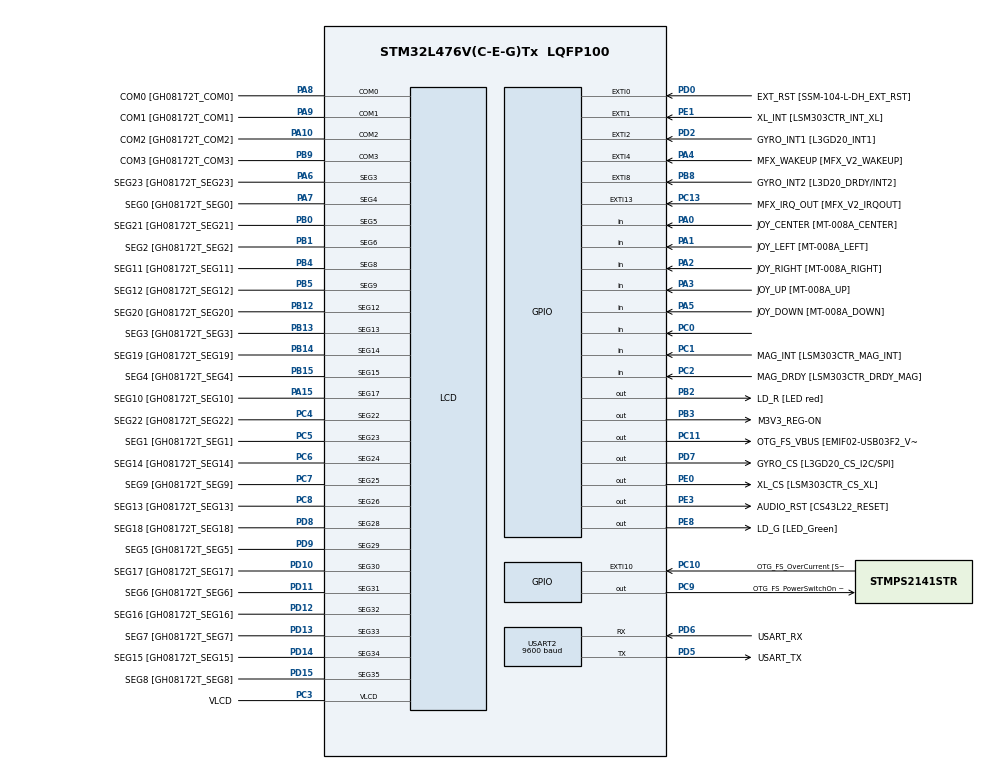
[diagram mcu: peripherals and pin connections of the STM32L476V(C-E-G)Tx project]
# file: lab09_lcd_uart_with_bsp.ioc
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LCD.Bias=LCD_BIAS_1_3
LCD.BlinkFrequency=LCD_BLINKFREQUENCY_DIV32
LCD.Contrast=LCD_CONTRASTLEVEL_3
LCD.Divider=LCD_DIVIDER_31
LCD.PulseOnDuration=LCD_PULSEONDURATION_4
Mcu.Family=STM32L4
Mcu.Name=STM32L476V(C-E-G)Tx
Mcu.Package=LQFP100
NVIC.PriorityGroup=NVIC_PRIORITYGROUP_4
PA0.GPIO_Label=JOY_CENTER [MT-008A_CENTER]
PA0.GPIO_Mode=GPIO_MODE_INPUT
PA0.GPIO_PuPd=GPIO_PULLDOWN
PA0.Signal=GPIO_Input
PA1.GPIO_Label=JOY_LEFT [MT-008A_LEFT]
PA1.GPIO_Mode=GPIO_MODE_INPUT
PA1.GPIO_PuPd=GPIO_PULLDOWN
PA1.Signal=GPIO_Input
PA10.GPIO_Label=COM2 [GH08172T_COM2]
PA10.GPIO_Mode=GPIO_MODE_AF_PP
PA10.GPIO_PuPd=GPIO_NOPULL
PA10.GPIO_Speed=GPIO_SPEED_FREQ_LOW
PA10.Mode=1/4 Duty Cycle
PA10.Signal=LCD_COM2
PA11.GPIO_Label=OTG_FS_DM [EMIF02-USB03F2_D-out]
PA11.GPIO_Mode=GPIO_MODE_AF_PP
PA11.GPIO_PuPd=GPIO_NOPULL
PA11.GPIO_Speed=GPIO_SPEED_FREQ_VERY_HIGH
PA11.Signal=USB_OTG_FS_DM
PA12.GPIO_Label=OTG_FS_DP [EMIF02-USB03F2_D+out]
PA12.GPIO_Mode=GPIO_MODE_AF_PP
PA12.GPIO_PuPd=GPIO_NOPULL
PA12.GPIO_Speed=GPIO_SPEED_FREQ_VERY_HIGH
PA12.Signal=USB_OTG_FS_DP
PA13\ (JTMS-SWDIO).GPIO_Label=SWDIO
PA13\ (JTMS-SWDIO).Signal=SYS_JTMS-SWDIO
PA14\ (JTCK-SWCLK).GPIO_Label=SWCLK
PA14\ (JTCK-SWCLK).Signal=SYS_JTCK-SWCLK
PA15\ (JTDI).GPIO_Label=SEG10 [GH08172T_SEG10]
PA15\ (JTDI).GPIO_Mode=GPIO_MODE_AF_PP
PA15\ (JTDI).GPIO_PuPd=GPIO_NOPULL
PA15\ (JTDI).GPIO_Speed=GPIO_SPEED_FREQ_LOW
PA15\ (JTDI).Mode=SEG17
PA15\ (JTDI).Signal=LCD_SEG17
PA2.GPIO_Label=JOY_RIGHT [MT-008A_RIGHT]
PA2.GPIO_Mode=GPIO_MODE_INPUT
PA2.GPIO_PuPd=GPIO_PULLDOWN
PA2.Signal=GPIO_Input
PA3.GPIO_Label=JOY_UP [MT-008A_UP]
PA3.GPIO_Mode=GPIO_MODE_INPUT
PA3.GPIO_PuPd=GPIO_PULLDOWN
PA3.Signal=GPIO_Input
PA4.GPIO_Label=MFX_WAKEUP [MFX_V2_WAKEUP]
PA4.GPIO_ModeDefaultEXTI=GPIO_MODE_EVT_RISING
PA4.GPIO_PuPd=GPIO_NOPULL
PA4.Signal=GPXTI4
PA5.GPIO_Label=JOY_DOWN [MT-008A_DOWN]
PA5.GPIO_Mode=GPIO_MODE_INPUT
PA5.GPIO_PuPd=GPIO_PULLDOWN
PA5.Signal=GPIO_Input
PA6.GPIO_Label=SEG23 [GH08172T_SEG23]
PA6.GPIO_Mode=GPIO_MODE_AF_PP
PA6.GPIO_PuPd=GPIO_NOPULL
PA6.GPIO_Speed=GPIO_SPEED_FREQ_LOW
PA6.Mode=SEG3
PA6.Signal=LCD_SEG3
PA7.GPIO_Label=SEG0 [GH08172T_SEG0]
PA7.GPIO_Mode=GPIO_MODE_AF_PP
PA7.GPIO_PuPd=GPIO_NOPULL
PA7.GPIO_Speed=GPIO_SPEED_FREQ_LOW
PA7.Mode=SEG4
PA7.Signal=LCD_SEG4
PA8.GPIO_Label=COM0 [GH08172T_COM0]
PA8.GPIO_Mode=GPIO_MODE_AF_PP
PA8.GPIO_PuPd=GPIO_NOPULL
PA8.GPIO_Speed=GPIO_SPEED_FREQ_LOW
PA8.Mode=1/4 Duty Cycle
PA8.Signal=LCD_COM0
PA9.GPIO_Label=COM1 [GH08172T_COM1]
PA9.GPIO_Mode=GPIO_MODE_AF_PP
PA9.GPIO_PuPd=GPIO_NOPULL
PA9.GPIO_Speed=GPIO_SPEED_FREQ_LOW
PA9.Mode=1/4 Duty Cycle
PA9.Signal=LCD_COM1
PB0.GPIO_Label=SEG21 [GH08172T_SEG21]
PB0.GPIO_Mode=GPIO_MODE_AF_PP
PB0.GPIO_PuPd=GPIO_NOPULL
PB0.GPIO_Speed=GPIO_SPEED_FREQ_LOW
PB0.Mode=SEG5
PB0.Signal=LCD_SEG5
PB1.GPIO_Label=SEG2 [GH08172T_SEG2]
PB1.GPIO_Mode=GPIO_MODE_AF_PP
PB1.GPIO_PuPd=GPIO_NOPULL
PB1.GPIO_Speed=GPIO_SPEED_FREQ_LOW
PB1.Mode=SEG6
PB1.Signal=LCD_SEG6
PB10.GPIO_Label=MFX_I2C_SLC [MFX_V2_I2C_SCL]
PB10.GPIO_Mode=GPIO_MODE_AF_OD
PB10.GPIO_PuPdOD=GPIO_PULLUP
PB10.GPIO_Speed=GPIO_SPEED_FREQ_VERY_HIGH
PB10.Signal=I2C2_SCL
PB11.GPIO_Label=MFX_I2C_SDA [MFX_V2_I2C_SDA]
PB11.GPIO_Mode=GPIO_MODE_AF_OD
PB11.GPIO_PuPdOD=GPIO_PULLUP
PB11.GPIO_Speed=GPIO_SPEED_FREQ_VERY_HIGH
PB11.Signal=I2C2_SDA
PB12.GPIO_Label=SEG20 [GH08172T_SEG20]
PB12.GPIO_Mode=GPIO_MODE_AF_PP
PB12.GPIO_PuPd=GPIO_NOPULL
PB12.GPIO_Speed=GPIO_SPEED_FREQ_LOW
PB12.Mode=SEG12
PB12.Signal=LCD_SEG12
PB13.GPIO_Label=SEG3 [GH08172T_SEG3]
PB13.GPIO_Mode=GPIO_MODE_AF_PP
PB13.GPIO_PuPd=GPIO_NOPULL
PB13.GPIO_Speed=GPIO_SPEED_FREQ_LOW
PB13.Mode=SEG13
PB13.Signal=LCD_SEG13
PB14.GPIO_Label=SEG19 [GH08172T_SEG19]
PB14.GPIO_Mode=GPIO_MODE_AF_PP
PB14.GPIO_PuPd=GPIO_NOPULL
PB14.GPIO_Speed=GPIO_SPEED_FREQ_LOW
PB14.Mode=SEG14
PB14.Signal=LCD_SEG14
PB15.GPIO_Label=SEG4 [GH08172T_SEG4]
PB15.GPIO_Mode=GPIO_MODE_AF_PP
PB15.GPIO_PuPd=GPIO_NOPULL
PB15.GPIO_Speed=GPIO_SPEED_FREQ_LOW
PB15.Mode=SEG15
PB15.Signal=LCD_SEG15
PB2.GPIO_Label=LD_R [LED red]
PB2.GPIO_ModeDefaultOutputPP=GPIO_MODE_OUTPUT_PP
PB2.GPIO_PuPd=GPIO_PULLUP
PB2.GPIO_Speed=GPIO_SPEED_FREQ_VERY_HIGH
PB2.Signal=GPIO_Output
PB3\ (JTDO-TRACESWO).GPIO_Label=M3V3_REG-ON
PB3\ (JTDO-TRACESWO).GPIO_ModeDefaultOutputPP=GPIO_MODE_OUTPUT_PP
PB3\ (JTDO-TRACESWO).GPIO_PuPd=GPIO_NOPULL
PB3\ (JTDO-TRACESWO).GPIO_Speed=GPIO_SPEED_FREQ_LOW
PB3\ (JTDO-TRACESWO).Signal=GPIO_Output
PB4\ (NJTRST).GPIO_Label=SEG11 [GH08172T_SEG11]
PB4\ (NJTRST).GPIO_Mode=GPIO_MODE_AF_PP
PB4\ (NJTRST).GPIO_PuPd=GPIO_NOPULL
PB4\ (NJTRST).GPIO_Speed=GPIO_SPEED_FREQ_LOW
PB4\ (NJTRST).Mode=SEG8
PB4\ (NJTRST).Signal=LCD_SEG8
PB5.GPIO_Label=SEG12 [GH08172T_SEG12]
PB5.GPIO_Mode=GPIO_MODE_AF_PP
PB5.GPIO_PuPd=GPIO_NOPULL
PB5.GPIO_Speed=GPIO_SPEED_FREQ_LOW
PB5.Mode=SEG9
PB5.Signal=LCD_SEG9
PB6.GPIO_FM6=__NULL
PB6.GPIO_Label=I2C1_SCL [SSM-104-L-DH_SCL]
PB6.GPIO_Mode=GPIO_MODE_AF_OD
PB6.GPIO_PuPdOD=GPIO_PULLUP
PB6.GPIO_Speed=GPIO_SPEED_FREQ_VERY_HIGH
PB6.Signal=I2C1_SCL
PB7.GPIO_FM7=__NULL
PB7.GPIO_Label=I2C1_SDA [SSM-104-L-DH_SDA]
PB7.GPIO_Mode=GPIO_MODE_AF_OD
PB7.GPIO_PuPdOD=GPIO_PULLUP
PB7.GPIO_Speed=GPIO_SPEED_FREQ_VERY_HIGH
PB7.Signal=I2C1_SDA
PB8.GPIO_Label=GYRO_INT2 [L3D20_DRDY/INT2]
PB8.GPIO_ModeDefaultEXTI=GPIO_MODE_EVT_RISING
PB8.GPIO_PuPd=GPIO_NOPULL
PB8.Signal=GPXTI8
PB9.GPIO_FM9=__NULL
PB9.GPIO_Label=COM3 [GH08172T_COM3]
PB9.GPIO_Mode=GPIO_MODE_AF_PP
PB9.GPIO_PuPd=GPIO_NOPULL
PB9.GPIO_Speed=GPIO_SPEED_FREQ_LOW
PB9.Mode=1/4 Duty Cycle
PB9.Signal=LCD_COM3
PC0.Signal=GPIO_Input
PC1.GPIO_Label=MAG_INT [LSM303CTR_MAG_INT]
PC1.GPIO_Mode=GPIO_MODE_INPUT
PC1.GPIO_PuPd=GPIO_NOPULL
PC1.Signal=GPIO_Input
PC10.GPIO_Label=OTG_FS_OverCurrent [STMPS2141STR_FAULT]
PC10.GPIO_ModeDefaultEXTI=GPIO_MODE_EVT_RISING
PC10.GPIO_PuPd=GPIO_NOPULL
PC10.Signal=GPXTI10
PC11.GPIO_Label=OTG_FS_VBUS [EMIF02-USB03F2_Vbus]
PC11.GPIO_ModeDefaultOutputPP=GPIO_MODE_OUTPUT_PP
PC11.GPIO_PuPd=GPIO_NOPULL
PC11.GPIO_Speed=GPIO_SPEED_FREQ_LOW
PC11.Signal=GPIO_Output
PC13.GPIO_Label=MFX_IRQ_OUT [MFX_V2_IRQOUT]
PC13.GPIO_ModeDefaultEXTI=GPIO_MODE_EVT_RISING
PC13.GPIO_PuPd=GPIO_NOPULL
PC13.Signal=GPXTI13
PC14-OSC32_IN\ (PC14).Signal=RCC_OSC32_IN
PC15-OSC32_OUT\ (PC15).Signal=RCC_OSC32_OUT
PC2.GPIO_Label=MAG_DRDY [LSM303CTR_DRDY_MAG]
PC2.GPIO_Mode=GPIO_MODE_INPUT
PC2.GPIO_PuPd=GPIO_NOPULL
PC2.Signal=GPIO_Input
PC3.GPIO_Label=VLCD
PC3.GPIO_Mode=GPIO_MODE_AF_PP
PC3.GPIO_PuPd=GPIO_NOPULL
PC3.GPIO_Speed=GPIO_SPEED_FREQ_LOW
PC3.Mode=1/4 Duty Cycle
PC3.Signal=LCD_VLCD
PC4.GPIO_Label=SEG22 [GH08172T_SEG22]
PC4.GPIO_Mode=GPIO_MODE_AF_PP
PC4.GPIO_PuPd=GPIO_NOPULL
PC4.GPIO_Speed=GPIO_SPEED_FREQ_LOW
PC4.Mode=SEG22
PC4.Signal=LCD_SEG22
PC5.GPIO_Label=SEG1 [GH08172T_SEG1]
PC5.GPIO_Mode=GPIO_MODE_AF_PP
PC5.GPIO_PuPd=GPIO_NOPULL
PC5.GPIO_Speed=GPIO_SPEED_FREQ_LOW
PC5.Mode=SEG23
PC5.Signal=LCD_SEG23
PC6.GPIO_Label=SEG14 [GH08172T_SEG14]
PC6.GPIO_Mode=GPIO_MODE_AF_PP
PC6.GPIO_PuPd=GPIO_NOPULL
PC6.GPIO_Speed=GPIO_SPEED_FREQ_LOW
PC6.Mode=SEG24
PC6.Signal=LCD_SEG24
PC7.GPIO_Label=SEG9 [GH08172T_SEG9]
PC7.GPIO_Mode=GPIO_MODE_AF_PP
PC7.GPIO_PuPd=GPIO_NOPULL
PC7.GPIO_Speed=GPIO_SPEED_FREQ_LOW
PC7.Mode=SEG25
PC7.Signal=LCD_SEG25
PC8.GPIO_Label=SEG13 [GH08172T_SEG13]
PC8.GPIO_Mode=GPIO_MODE_AF_PP
PC8.GPIO_PuPd=GPIO_NOPULL
PC8.GPIO_Speed=GPIO_SPEED_FREQ_LOW
PC8.Mode=SEG26
PC8.Signal=LCD_SEG26
PC9.GPIO_Label=OTG_FS_PowerSwitchOn [STMPS2141STR_EN]
PC9.GPIO_ModeDefaultOutputPP=GPIO_MODE_OUTPUT_PP
PC9.GPIO_PuPd=GPIO_NOPULL
PC9.GPIO_Speed=GPIO_SPEED_FREQ_LOW
PC9.PinState=GPIO_PIN_SET
PC9.Signal=GPIO_Output
PD0.GPIO_Label=EXT_RST [SSM-104-L-DH_EXT_RST]
PD0.GPIO_ModeDefaultEXTI=GPIO_MODE_EVT_RISING
PD0.GPIO_PuPd=GPIO_NOPULL
PD0.Signal=GPXTI0
PD1.GPIO_Label=MEMS_SCK [L3GD20_SCL/SPC]
PD1.GPIO_Mode=GPIO_MODE_AF_PP
PD1.GPIO_PuPd=GPIO_NOPULL
PD1.GPIO_Speed=GPIO_SPEED_FREQ_VERY_HIGH
PD1.Signal=SPI2_SCK
PD10.GPIO_Label=SEG17 [GH08172T_SEG17]
PD10.GPIO_Mode=GPIO_MODE_AF_PP
PD10.GPIO_PuPd=GPIO_NOPULL
PD10.GPIO_Speed=GPIO_SPEED_FREQ_LOW
PD10.Mode=SEG30
PD10.Signal=LCD_SEG30
PD11.GPIO_Label=SEG6 [GH08172T_SEG6]
PD11.GPIO_Mode=GPIO_MODE_AF_PP
PD11.GPIO_PuPd=GPIO_NOPULL
PD11.GPIO_Speed=GPIO_SPEED_FREQ_LOW
PD11.Mode=SEG31
PD11.Signal=LCD_SEG31
PD12.GPIO_Label=SEG16 [GH08172T_SEG16]
PD12.GPIO_Mode=GPIO_MODE_AF_PP
PD12.GPIO_PuPd=GPIO_NOPULL
PD12.GPIO_Speed=GPIO_SPEED_FREQ_LOW
PD12.Mode=SEG32
PD12.Signal=LCD_SEG32
PD13.GPIO_Label=SEG7 [GH08172T_SEG7]
PD13.GPIO_Mode=GPIO_MODE_AF_PP
PD13.GPIO_PuPd=GPIO_NOPULL
PD13.GPIO_Speed=GPIO_SPEED_FREQ_LOW
PD13.Mode=SEG33
PD13.Signal=LCD_SEG33
PD14.GPIO_Label=SEG15 [GH08172T_SEG15]
PD14.GPIO_Mode=GPIO_MODE_AF_PP
PD14.GPIO_PuPd=GPIO_NOPULL
PD14.GPIO_Speed=GPIO_SPEED_FREQ_LOW
PD14.Mode=SEG34
PD14.Signal=LCD_SEG34
PD15.GPIO_Label=SEG8 [GH08172T_SEG8]
PD15.GPIO_Mode=GPIO_MODE_AF_PP
PD15.GPIO_PuPd=GPIO_NOPULL
PD15.GPIO_Speed=GPIO_SPEED_FREQ_LOW
PD15.Mode=SEG35
PD15.Signal=LCD_SEG35
PD2.GPIO_Label=GYRO_INT1 [L3GD20_INT1]
PD2.GPIO_ModeDefaultEXTI=GPIO_MODE_EVT_RISING
PD2.GPIO_PuPd=GPIO_NOPULL
PD2.Signal=GPXTI2
PD3.GPIO_Label=MEMS_MISO [L3GD20_SA0/SDO]
PD3.GPIO_Mode=GPIO_MODE_AF_PP
PD3.GPIO_PuPd=GPIO_NOPULL
PD3.GPIO_Speed=GPIO_SPEED_FREQ_VERY_HIGH
PD3.Signal=SPI2_MISO
PD4.GPIO_Label=MEMS_MOSI [L3GD20_SDA/SDI/SDO]
PD4.GPIO_Mode=GPIO_MODE_AF_PP
PD4.GPIO_PuPd=GPIO_NOPULL
PD4.GPIO_Speed=GPIO_SPEED_FREQ_VERY_HIGH
PD4.Signal=SPI2_MOSI
PD5.GPIO_Label=USART_TX
PD5.GPIO_Mode=GPIO_MODE_AF_PP
PD5.GPIO_PuPd=GPIO_PULLUP
PD5.GPIO_Speed=GPIO_SPEED_FREQ_VERY_HIGH
PD5.Mode=Asynchronous
PD5.Signal=USART2_TX
PD6.GPIO_Label=USART_RX
PD6.GPIO_Mode=GPIO_MODE_AF_PP
PD6.GPIO_PuPd=GPIO_PULLUP
PD6.GPIO_Speed=GPIO_SPEED_FREQ_VERY_HIGH
PD6.Mode=Asynchronous
PD6.Signal=USART2_RX
PD7.GPIO_Label=GYRO_CS [L3GD20_CS_I2C/SPI]
PD7.GPIO_ModeDefaultOutputPP=GPIO_MODE_OUTPUT_PP
PD7.GPIO_PuPd=GPIO_NOPULL
PD7.GPIO_Speed=GPIO_SPEED_FREQ_VERY_HIGH
PD7.Signal=GPIO_Output
PD8.GPIO_Label=SEG18 [GH08172T_SEG18]
PD8.GPIO_Mode=GPIO_MODE_AF_PP
PD8.GPIO_PuPd=GPIO_NOPULL
PD8.GPIO_Speed=GPIO_SPEED_FREQ_LOW
PD8.Mode=SEG28
PD8.Signal=LCD_SEG28
PD9.GPIO_Label=SEG5 [GH08172T_SEG5]
PD9.GPIO_Mode=GPIO_MODE_AF_PP
PD9.GPIO_PuPd=GPIO_NOPULL
PD9.GPIO_Speed=GPIO_SPEED_FREQ_LOW
PD9.Mode=SEG29
PD9.Signal=LCD_SEG29
PE0.GPIO_Label=XL_CS [LSM303CTR_CS_XL]
PE0.GPIO_ModeDefaultOutputPP=GPIO_MODE_OUTPUT_PP
PE0.GPIO_PuPd=GPIO_NOPULL
PE0.GPIO_Speed=GPIO_SPEED_FREQ_LOW
PE0.Signal=GPIO_Output
PE1.GPIO_Label=XL_INT [LSM303CTR_INT_XL]
PE1.GPIO_ModeDefaultEXTI=GPIO_MODE_EVT_RISING
PE1.GPIO_PuPd=GPIO_NOPULL
PE1.Signal=GPXTI1
PE10.GPIO_Label=QSPI_CLK [N25Q128A13EF840E_C]
PE10.GPIO_Mode=GPIO_MODE_AF_PP
PE10.GPIO_PuPd=GPIO_NOPULL
PE10.GPIO_Speed=GPIO_SPEED_FREQ_VERY_HIGH
PE10.Signal=QUADSPI_CLK
PE11.GPIO_Label=QSPI_CS [N25Q128A13EF840E_S\#]
PE11.GPIO_Mode=GPIO_MODE_AF_PP
PE11.GPIO_PuPd=GPIO_NOPULL
PE11.GPIO_Speed=GPIO_SPEED_FREQ_VERY_HIGH
PE11.Signal=QUADSPI_NCS
PE12.GPIO_Label=QSPI_D0 [N25Q128A13EF840E_DQ0]
PE12.GPIO_Mode=GPIO_MODE_AF_PP
PE12.GPIO_PuPd=GPIO_NOPULL
PE12.GPIO_Speed=GPIO_SPEED_FREQ_VERY_HIGH
PE12.Signal=QUADSPI_BK1_IO0
PE13.GPIO_Label=QSPI_D1 [N25Q128A13EF840E_DQ1]
PE13.GPIO_Mode=GPIO_MODE_AF_PP
PE13.GPIO_PuPd=GPIO_NOPULL
PE13.GPIO_Speed=GPIO_SPEED_FREQ_VERY_HIGH
PE13.Signal=QUADSPI_BK1_IO1
PE14.GPIO_Label=QSPI_D2 [N25Q128A13EF840E_DQ2]
PE14.GPIO_Mode=GPIO_MODE_AF_PP
PE14.GPIO_PuPd=GPIO_NOPULL
PE14.GPIO_Speed=GPIO_SPEED_FREQ_VERY_HIGH
PE14.Signal=QUADSPI_BK1_IO2
PE15.GPIO_Label=QSPI_D3 [N25Q128A13EF840E_DQ3]
PE15.GPIO_Mode=GPIO_MODE_AF_PP
PE15.GPIO_PuPd=GPIO_NOPULL
PE15.GPIO_Speed=GPIO_SPEED_FREQ_VERY_HIGH
PE15.Signal=QUADSPI_BK1_IO3
PE2.GPIO_Label=SAI1_MCK [CS43L22_MCLK]
PE2.GPIO_Mode=GPIO_MODE_AF_PP
PE2.GPIO_PuPd=GPIO_NOPULL
PE2.GPIO_Speed=GPIO_SPEED_FREQ_VERY_HIGH
PE2.Signal=SAI1_MCLK_A
PE3.GPIO_Label=AUDIO_RST [CS43L22_RESET]
PE3.GPIO_ModeDefaultOutputPP=GPIO_MODE_OUTPUT_PP
PE3.GPIO_PuPd=GPIO_NOPULL
PE3.GPIO_Speed=GPIO_SPEED_FREQ_HIGH
PE3.Signal=GPIO_Output
PE4.GPIO_Label=SAI1_FS [CS43L22_LRCK]
PE4.GPIO_Mode=GPIO_MODE_AF_PP
PE4.GPIO_PuPd=GPIO_NOPULL
PE4.GPIO_Speed=GPIO_SPEED_FREQ_VERY_HIGH
PE4.Signal=SAI1_FS_A
PE5.GPIO_Label=SAI1_SCK [CS43L22_SCLK]
PE5.GPIO_Mode=GPIO_MODE_AF_PP
PE5.GPIO_PuPd=GPIO_NOPULL
PE5.GPIO_Speed=GPIO_SPEED_FREQ_VERY_HIGH
PE5.Signal=SAI1_SCK_A
PE6.GPIO_Label=SAI1_SD [CS43L22_SDIN]
PE6.GPIO_Mode=GPIO_MODE_AF_PP
PE6.GPIO_PuPd=GPIO_NOPULL
PE6.GPIO_Speed=GPIO_SPEED_FREQ_VERY_HIGH
PE6.Signal=SAI1_SD_A
PE7.GPIO_Label=AUDIO_DIN [MP34DT01_DOUT]
PE7.GPIO_Mode=GPIO_MODE_AF_PP
PE7.GPIO_PuPd=GPIO_NOPULL
PE7.GPIO_Speed=GPIO_SPEED_FREQ_VERY_HIGH
PE7.Signal=SAI1_SD_B
PE8.GPIO_Label=LD_G [LED_Green]
PE8.GPIO_ModeDefaultOutputPP=GPIO_MODE_OUTPUT_PP
PE8.GPIO_PuPd=GPIO_PULLUP
PE8.GPIO_Speed=GPIO_SPEED_FREQ_VERY_HIGH
PE8.Signal=GPIO_Output
PE9.GPIO_Label=AUDIO_CLK [MP34DT01_CLK]
PE9.GPIO_Mode=GPIO_MODE_AF_PP
PE9.GPIO_PuPd=GPIO_NOPULL
PE9.GPIO_Speed=GPIO_SPEED_FREQ_LOW
PE9.Signal=SAI1_FS_B
PH0-OSC_IN\ (PH0).Signal=RCC_OSC_IN
PH1-OSC_OUT\ (PH1).Signal=RCC_OSC_OUT
ProjectManager.HeapSize=0x200
ProjectManager.StackSize=0x400
ProjectManager.TargetToolchain=MDK-ARM V5
RCC.CortexFreq_Value=4000000
RCC.HSE_VALUE=8000000
RCC.HSI_VALUE=16000000
RCC.LSE_VALUE=32768
RCC.MSI_VALUE=4000000
RCC.PREFETCH_ENABLE=1
RCC.VCOOutputFreq_Value=32000000
USART2.BaudRate=9600
USART2.VirtualMode-Asynchronous=VM_ASYNC
USART2.WordLength=WORDLENGTH_8B
board=STM32L476G-DISCO

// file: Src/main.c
/**
  ******************************************************************************
  * File Name          : main.c
  * Description        : Main program body
  ******************************************************************************
  ** This notice applies to any and all portions of this file
  * that are not between comment pairs USER CODE BEGIN and
  * USER CODE END. Other portions of this file, whether
  * inserted by the user or by software development tools
  * are owned by their respective copyright owners.
  *
  * COPYRIGHT(c) 2018 STMicroelectronics
  *
  * Redistribution and use in source and binary forms, with or without modification,
  * are permitted provided that the following conditions are met:
  *   1. Redistributions of source code must retain the above copyright notice,
  *      this list of conditions and the following disclaimer.
  *   2. Redistributions in binary form must reproduce the above copyright notice,
  *      this list of conditions and the following disclaimer in the documentation
  *      and/or other materials provided with the distribution.
  *   3. Neither the name of STMicroelectronics nor the names of its contributors
  *      may be used to endorse or promote products derived from this software
  *      without specific prior written permission.
  *
  * THIS SOFTWARE IS PROVIDED BY THE COPYRIGHT HOLDERS AND CONTRIBUTORS "AS IS"
  * AND ANY EXPRESS OR IMPLIED WARRANTIES, INCLUDING, BUT NOT LIMITED TO, THE
  * IMPLIED WARRANTIES OF MERCHANTABILITY AND FITNESS FOR A PARTICULAR PURPOSE ARE
  * DISCLAIMED. IN NO EVENT SHALL THE COPYRIGHT HOLDER OR CONTRIBUTORS BE LIABLE
  * FOR ANY DIRECT, INDIRECT, INCIDENTAL, SPECIAL, EXEMPLARY, OR CONSEQUENTIAL
  * DAMAGES (INCLUDING, BUT NOT LIMITED TO, PROCUREMENT OF SUBSTITUTE GOODS OR
  * SERVICES; LOSS OF USE, DATA, OR PROFITS; OR BUSINESS INTERRUPTION) HOWEVER
  * CAUSED AND ON ANY THEORY OF LIABILITY, WHETHER IN CONTRACT, STRICT LIABILITY,
  * OR TORT (INCLUDING NEGLIGENCE OR OTHERWISE) ARISING IN ANY WAY OUT OF THE USE
  * OF THIS SOFTWARE, EVEN IF ADVISED OF THE POSSIBILITY OF SUCH DAMAGE.
  *
  ******************************************************************************
  */

#include "main.h"
#include "stm32l4xx_hal.h"

/* USER CODE BEGIN Includes */
#include <stdbool.h>
#include "stm32l476g_discovery_glass_lcd_new_chars.h"
/* USER CODE END Includes */

LCD_HandleTypeDef hlcd;

UART_HandleTypeDef huart2;

/* USER CODE BEGIN PV */
/* Private variables ---------------------------------------------------------*/

/* USER CODE END PV */

void SystemClock_Config(void);
static void MX_GPIO_Init(void);
static void MX_LCD_Init(void);
static void MX_USART2_UART_Init(void);

/* USER CODE BEGIN PFP */
/* Private function prototypes -----------------------------------------------*/
#ifdef __GNUC__
/* With GCC, small printf (option LD Linker->Libraries->Small printf
   set to 'Yes') calls __io_putchar() */
#define PUTCHAR_PROTOTYPE int __io_putchar(int ch)
#else
#define PUTCHAR_PROTOTYPE int fputc(int ch, FILE *f)
#endif /* __GNUC__ */

#define UP_KEY_IS_PRESSED     HAL_GPIO_ReadPin(JOY_UP_GPIO_Port, JOY_UP_Pin)
#define DOWN_KEY_IS_PRESSED   HAL_GPIO_ReadPin(JOY_DOWN_GPIO_Port, JOY_DOWN_Pin)

/* USER CODE END PFP */

int main(void)
{

  /* USER CODE BEGIN 1 */
    enum progState{State1 = 1, State2};
    enum progState currentState;
    currentState = State1;
    bool stateChanged = true;

		uint8_t myStr1[] = "State1";
		uint8_t myStr2[] = "State2";
		Point_Typedef myStr1Point[] = {POINT_OFF, POINT_OFF, POINT_OFF, POINT_ON, POINT_OFF, POINT_OFF};
		DoublePoint_Typedef myString1Colon[] = {DOUBLEPOINT_OFF, DOUBLEPOINT_OFF, DOUBLEPOINT_ON, DOUBLEPOINT_OFF, DOUBLEPOINT_OFF, DOUBLEPOINT_OFF};
  /* USER CODE END 1 */

  /* MCU Configuration----------------------------------------------------------*/

  /* Reset of all peripherals, Initializes the Flash interface and the Systick. */
  HAL_Init();

  /* Configure the system clock */
  SystemClock_Config();

  /* Initialize all configured peripherals */
  MX_GPIO_Init();
  MX_LCD_Init();
  MX_USART2_UART_Init();

  /* USER CODE BEGIN 2 */
    BSP_LCD_GLASS_Init();
    printf("This is the start of the Lab 9 program.\n\r");

  /* USER CODE END 2 */

  /* Infinite loop */
  while (1)
  {

  /* USER CODE BEGIN 3 */
		if (stateChanged)
			printf("The current state is State%1d.\n\r", currentState);
		switch (currentState) {
			case State1:
				if (stateChanged) {
					printf("Press the Down key to go to State 2.\n\r");
					stateChanged = false;
					BSP_LCD_GLASS_DisplayString(myStr1);
					//BSP_LCD_GLASS_DisplayString_Pnt_Cln(myStr1, myStr1Point, myString1Colon);
				}
				if (DOWN_KEY_IS_PRESSED) {
					currentState = State2;
					stateChanged = true;
					break;
				}
				break;
			case State2:
				if (stateChanged) {
					printf("Press the Up key to go to State 1.\n\r");
					stateChanged = false;
					BSP_LCD_GLASS_DisplayString(myStr2);
					//BSP_LCD_GLASS_DisplayString_Pnt_Cln(myStr2, myStr1Point, myString1Colon);
				}
				//BSP_LCD_GLASS_ScrollSentence(myStr2, 1, SCROLL_SPEED_MEDIUM);
				if (UP_KEY_IS_PRESSED) {
					currentState = State1;
					stateChanged = true;
					break;
				}
				break;
			default:
				printf("Something is deadly wrong if you see this state.\n\r");
				break;
		}
	}
  /* USER CODE END 3 */

}

/** System Clock Configuration
*/
void SystemClock_Config(void)
{

  RCC_OscInitTypeDef RCC_OscInitStruct;
  RCC_ClkInitTypeDef RCC_ClkInitStruct;
  RCC_PeriphCLKInitTypeDef PeriphClkInit;

    /**Initializes the CPU, AHB and APB busses clocks
    */
  RCC_OscInitStruct.OscillatorType = RCC_OSCILLATORTYPE_LSI|RCC_OSCILLATORTYPE_MSI;
  RCC_OscInitStruct.LSIState = RCC_LSI_ON;
  RCC_OscInitStruct.MSIState = RCC_MSI_ON;
  RCC_OscInitStruct.MSICalibrationValue = 0;
  RCC_OscInitStruct.MSIClockRange = RCC_MSIRANGE_6;
  RCC_OscInitStruct.PLL.PLLState = RCC_PLL_NONE;
  if (HAL_RCC_OscConfig(&RCC_OscInitStruct) != HAL_OK)
  {
    _Error_Handler(__FILE__, __LINE__);
  }

    /**Initializes the CPU, AHB and APB busses clocks
    */
  RCC_ClkInitStruct.ClockType = RCC_CLOCKTYPE_HCLK|RCC_CLOCKTYPE_SYSCLK
                              |RCC_CLOCKTYPE_PCLK1|RCC_CLOCKTYPE_PCLK2;
  RCC_ClkInitStruct.SYSCLKSource = RCC_SYSCLKSOURCE_MSI;
  RCC_ClkInitStruct.AHBCLKDivider = RCC_SYSCLK_DIV1;
  RCC_ClkInitStruct.APB1CLKDivider = RCC_HCLK_DIV1;
  RCC_ClkInitStruct.APB2CLKDivider = RCC_HCLK_DIV1;

  if (HAL_RCC_ClockConfig(&RCC_ClkInitStruct, FLASH_LATENCY_0) != HAL_OK)
  {
    _Error_Handler(__FILE__, __LINE__);
  }

  PeriphClkInit.PeriphClockSelection = RCC_PERIPHCLK_RTC|RCC_PERIPHCLK_USART2;
  PeriphClkInit.Usart2ClockSelection = RCC_USART2CLKSOURCE_PCLK1;
  PeriphClkInit.RTCClockSelection = RCC_RTCCLKSOURCE_LSI;
  if (HAL_RCCEx_PeriphCLKConfig(&PeriphClkInit) != HAL_OK)
  {
    _Error_Handler(__FILE__, __LINE__);
  }

    /**Configure the main internal regulator output voltage
    */
  if (HAL_PWREx_ControlVoltageScaling(PWR_REGULATOR_VOLTAGE_SCALE1) != HAL_OK)
  {
    _Error_Handler(__FILE__, __LINE__);
  }

    /**Configure the Systick interrupt time
    */
  HAL_SYSTICK_Config(HAL_RCC_GetHCLKFreq()/1000);

    /**Configure the Systick
    */
  HAL_SYSTICK_CLKSourceConfig(SYSTICK_CLKSOURCE_HCLK);

  /* SysTick_IRQn interrupt configuration */
  HAL_NVIC_SetPriority(SysTick_IRQn, 0, 0);
}

/* LCD init function */
static void MX_LCD_Init(void)
{

  hlcd.Instance = LCD;
  hlcd.Init.Prescaler = LCD_PRESCALER_1;
  hlcd.Init.Divider = LCD_DIVIDER_31;
  hlcd.Init.Duty = LCD_DUTY_1_4;
  hlcd.Init.Bias = LCD_BIAS_1_3;
  hlcd.Init.VoltageSource = LCD_VOLTAGESOURCE_INTERNAL;
  hlcd.Init.Contrast = LCD_CONTRASTLEVEL_3;
  hlcd.Init.DeadTime = LCD_DEADTIME_0;
  hlcd.Init.PulseOnDuration = LCD_PULSEONDURATION_4;
  hlcd.Init.MuxSegment = LCD_MUXSEGMENT_DISABLE;
  hlcd.Init.BlinkMode = LCD_BLINKMODE_OFF;
  hlcd.Init.BlinkFrequency = LCD_BLINKFREQUENCY_DIV32;
  hlcd.Init.HighDrive = LCD_HIGHDRIVE_DISABLE;

  if (HAL_LCD_Init(&hlcd) != HAL_OK)
  {
    _Error_Handler(__FILE__, __LINE__);
  }

}

/* USART2 init function */
static void MX_USART2_UART_Init(void)
{

  huart2.Instance = USART2;
  huart2.Init.BaudRate = 9600;
  huart2.Init.WordLength = UART_WORDLENGTH_8B;
  huart2.Init.StopBits = UART_STOPBITS_1;
  huart2.Init.Parity = UART_PARITY_NONE;
  huart2.Init.Mode = UART_MODE_TX_RX;
  huart2.Init.HwFlowCtl = UART_HWCONTROL_NONE;
  huart2.Init.OverSampling = UART_OVERSAMPLING_16;
  huart2.Init.OneBitSampling = UART_ONE_BIT_SAMPLE_DISABLE;
  huart2.AdvancedInit.AdvFeatureInit = UART_ADVFEATURE_NO_INIT;
  if (HAL_UART_Init(&huart2) != HAL_OK)
  {
    _Error_Handler(__FILE__, __LINE__);
  }

}

/** Configure pins
     PE2   ------> SAI1_MCLK_A
     PE4   ------> SAI1_FS_A
     PE5   ------> SAI1_SCK_A
     PE6   ------> SAI1_SD_A
     PE7   ------> SAI1_SD_B
     PE9   ------> SAI1_FS_B
     PE10   ------> QUADSPI_CLK
     PE11   ------> QUADSPI_NCS
     PE12   ------> QUADSPI_BK1_IO0
     PE13   ------> QUADSPI_BK1_IO1
     PE14   ------> QUADSPI_BK1_IO2
     PE15   ------> QUADSPI_BK1_IO3
     PB10   ------> I2C2_SCL
     PB11   ------> I2C2_SDA
     PA11   ------> USB_OTG_FS_DM
     PA12   ------> USB_OTG_FS_DP
     PD1   ------> SPI2_SCK
     PD3   ------> SPI2_MISO
     PD4   ------> SPI2_MOSI
     PB6   ------> I2C1_SCL
     PB7   ------> I2C1_SDA
*/
static void MX_GPIO_Init(void)
{

  GPIO_InitTypeDef GPIO_InitStruct;

  /* GPIO Ports Clock Enable */
  __HAL_RCC_GPIOE_CLK_ENABLE();
  __HAL_RCC_GPIOC_CLK_ENABLE();
  __HAL_RCC_GPIOH_CLK_ENABLE();
  __HAL_RCC_GPIOA_CLK_ENABLE();
  __HAL_RCC_GPIOB_CLK_ENABLE();
  __HAL_RCC_GPIOD_CLK_ENABLE();

  /*Configure GPIO pin Output Level */
  HAL_GPIO_WritePin(GPIOE, AUDIO_RST_Pin|LD_G_Pin|XL_CS_Pin, GPIO_PIN_RESET);

  /*Configure GPIO pin Output Level */
  HAL_GPIO_WritePin(GPIOB, LD_R_Pin|M3V3_REG_ON_Pin, GPIO_PIN_RESET);

  /*Configure GPIO pin Output Level */
  HAL_GPIO_WritePin(OTG_FS_PowerSwitchOn_GPIO_Port, OTG_FS_PowerSwitchOn_Pin, GPIO_PIN_SET);

  /*Configure GPIO pin Output Level */
  HAL_GPIO_WritePin(OTG_FS_VBUS_GPIO_Port, OTG_FS_VBUS_Pin, GPIO_PIN_RESET);

  /*Configure GPIO pin Output Level */
  HAL_GPIO_WritePin(GYRO_CS_GPIO_Port, GYRO_CS_Pin, GPIO_PIN_RESET);

  /*Configure GPIO pins : SAI1_MCK_Pin SAI1_FS_Pin SAI1_SCK_Pin SAI1_SD_Pin
                           AUDIO_DIN_Pin */
  GPIO_InitStruct.Pin = SAI1_MCK_Pin|SAI1_FS_Pin|SAI1_SCK_Pin|SAI1_SD_Pin
                          |AUDIO_DIN_Pin;
  GPIO_InitStruct.Mode = GPIO_MODE_AF_PP;
  GPIO_InitStruct.Pull = GPIO_NOPULL;
  GPIO_InitStruct.Speed = GPIO_SPEED_FREQ_VERY_HIGH;
  GPIO_InitStruct.Alternate = GPIO_AF13_SAI1;
  HAL_GPIO_Init(GPIOE, &GPIO_InitStruct);

  /*Configure GPIO pin : AUDIO_RST_Pin */
  GPIO_InitStruct.Pin = AUDIO_RST_Pin;
  GPIO_InitStruct.Mode = GPIO_MODE_OUTPUT_PP;
  GPIO_InitStruct.Pull = GPIO_NOPULL;
  GPIO_InitStruct.Speed = GPIO_SPEED_FREQ_HIGH;
  HAL_GPIO_Init(AUDIO_RST_GPIO_Port, &GPIO_InitStruct);

  /*Configure GPIO pins : MFX_IRQ_OUT_Pin OTG_FS_OverCurrent_Pin */
  GPIO_InitStruct.Pin = MFX_IRQ_OUT_Pin|OTG_FS_OverCurrent_Pin;
  GPIO_InitStruct.Mode = GPIO_MODE_EVT_RISING;
  GPIO_InitStruct.Pull = GPIO_NOPULL;
  HAL_GPIO_Init(GPIOC, &GPIO_InitStruct);

  /*Configure GPIO pins : PC0 MAG_INT_Pin MAG_DRDY_Pin */
  GPIO_InitStruct.Pin = GPIO_PIN_0|MAG_INT_Pin|MAG_DRDY_Pin;
  GPIO_InitStruct.Mode = GPIO_MODE_INPUT;
  GPIO_InitStruct.Pull = GPIO_NOPULL;
  HAL_GPIO_Init(GPIOC, &GPIO_InitStruct);

  /*Configure GPIO pins : JOY_CENTER_Pin JOY_LEFT_Pin JOY_RIGHT_Pin JOY_UP_Pin
                           JOY_DOWN_Pin */
  GPIO_InitStruct.Pin = JOY_CENTER_Pin|JOY_LEFT_Pin|JOY_RIGHT_Pin|JOY_UP_Pin
                          |JOY_DOWN_Pin;
  GPIO_InitStruct.Mode = GPIO_MODE_INPUT;
  GPIO_InitStruct.Pull = GPIO_PULLDOWN;
  HAL_GPIO_Init(GPIOA, &GPIO_InitStruct);

  /*Configure GPIO pin : MFX_WAKEUP_Pin */
  GPIO_InitStruct.Pin = MFX_WAKEUP_Pin;
  GPIO_InitStruct.Mode = GPIO_MODE_EVT_RISING;
  GPIO_InitStruct.Pull = GPIO_NOPULL;
  HAL_GPIO_Init(MFX_WAKEUP_GPIO_Port, &GPIO_InitStruct);

  /*Configure GPIO pin : LD_R_Pin */
  GPIO_InitStruct.Pin = LD_R_Pin;
  GPIO_InitStruct.Mode = GPIO_MODE_OUTPUT_PP;
  GPIO_InitStruct.Pull = GPIO_PULLUP;
  GPIO_InitStruct.Speed = GPIO_SPEED_FREQ_VERY_HIGH;
  HAL_GPIO_Init(LD_R_GPIO_Port, &GPIO_InitStruct);

  /*Configure GPIO pin : LD_G_Pin */
  GPIO_InitStruct.Pin = LD_G_Pin;
  GPIO_InitStruct.Mode = GPIO_MODE_OUTPUT_PP;
  GPIO_InitStruct.Pull = GPIO_PULLUP;
  GPIO_InitStruct.Speed = GPIO_SPEED_FREQ_VERY_HIGH;
  HAL_GPIO_Init(LD_G_GPIO_Port, &GPIO_InitStruct);

  /*Configure GPIO pin : AUDIO_CLK_Pin */
  GPIO_InitStruct.Pin = AUDIO_CLK_Pin;
  GPIO_InitStruct.Mode = GPIO_MODE_AF_PP;
  GPIO_InitStruct.Pull = GPIO_NOPULL;
  GPIO_InitStruct.Speed = GPIO_SPEED_FREQ_LOW;
  GPIO_InitStruct.Alternate = GPIO_AF13_SAI1;
  HAL_GPIO_Init(AUDIO_CLK_GPIO_Port, &GPIO_InitStruct);

  /*Configure GPIO pins : QSPI_CLK_Pin QSPI_CS_Pin QSPI_D0_Pin QSPI_D1_Pin
                           QSPI_D2_Pin QSPI_D3_Pin */
  GPIO_InitStruct.Pin = QSPI_CLK_Pin|QSPI_CS_Pin|QSPI_D0_Pin|QSPI_D1_Pin
                          |QSPI_D2_Pin|QSPI_D3_Pin;
  GPIO_InitStruct.Mode = GPIO_MODE_AF_PP;
  GPIO_InitStruct.Pull = GPIO_NOPULL;
  GPIO_InitStruct.Speed = GPIO_SPEED_FREQ_VERY_HIGH;
  GPIO_InitStruct.Alternate = GPIO_AF10_QUADSPI;
  HAL_GPIO_Init(GPIOE, &GPIO_InitStruct);

  /*Configure GPIO pins : MFX_I2C_SLC_Pin MFX_I2C_SDA_Pin */
  GPIO_InitStruct.Pin = MFX_I2C_SLC_Pin|MFX_I2C_SDA_Pin;
  GPIO_InitStruct.Mode = GPIO_MODE_AF_OD;
  GPIO_InitStruct.Pull = GPIO_PULLUP;
  GPIO_InitStruct.Speed = GPIO_SPEED_FREQ_VERY_HIGH;
  GPIO_InitStruct.Alternate = GPIO_AF4_I2C2;
  HAL_GPIO_Init(GPIOB, &GPIO_InitStruct);

  /*Configure GPIO pins : OTG_FS_PowerSwitchOn_Pin OTG_FS_VBUS_Pin */
  GPIO_InitStruct.Pin = OTG_FS_PowerSwitchOn_Pin|OTG_FS_VBUS_Pin;
  GPIO_InitStruct.Mode = GPIO_MODE_OUTPUT_PP;
  GPIO_InitStruct.Pull = GPIO_NOPULL;
  GPIO_InitStruct.Speed = GPIO_SPEED_FREQ_LOW;
  HAL_GPIO_Init(GPIOC, &GPIO_InitStruct);

  /*Configure GPIO pins : OTG_FS_DM_Pin OTG_FS_DP_Pin */
  GPIO_InitStruct.Pin = OTG_FS_DM_Pin|OTG_FS_DP_Pin;
  GPIO_InitStruct.Mode = GPIO_MODE_AF_PP;
  GPIO_InitStruct.Pull = GPIO_NOPULL;
  GPIO_InitStruct.Speed = GPIO_SPEED_FREQ_VERY_HIGH;
  GPIO_InitStruct.Alternate = GPIO_AF10_OTG_FS;
  HAL_GPIO_Init(GPIOA, &GPIO_InitStruct);

  /*Configure GPIO pins : EXT_RST_Pin GYRO_INT1_Pin */
  GPIO_InitStruct.Pin = EXT_RST_Pin|GYRO_INT1_Pin;
  GPIO_InitStruct.Mode = GPIO_MODE_EVT_RISING;
  GPIO_InitStruct.Pull = GPIO_NOPULL;
  HAL_GPIO_Init(GPIOD, &GPIO_InitStruct);

  /*Configure GPIO pins : MEMS_SCK_Pin MEMS_MISO_Pin MEMS_MOSI_Pin */
  GPIO_InitStruct.Pin = MEMS_SCK_Pin|MEMS_MISO_Pin|MEMS_MOSI_Pin;
  GPIO_InitStruct.Mode = GPIO_MODE_AF_PP;
  GPIO_InitStruct.Pull = GPIO_NOPULL;
  GPIO_InitStruct.Speed = GPIO_SPEED_FREQ_VERY_HIGH;
  GPIO_InitStruct.Alternate = GPIO_AF5_SPI2;
  HAL_GPIO_Init(GPIOD, &GPIO_InitStruct);

  /*Configure GPIO pin : GYRO_CS_Pin */
  GPIO_InitStruct.Pin = GYRO_CS_Pin;
  GPIO_InitStruct.Mode = GPIO_MODE_OUTPUT_PP;
  GPIO_InitStruct.Pull = GPIO_NOPULL;
  GPIO_InitStruct.Speed = GPIO_SPEED_FREQ_VERY_HIGH;
  HAL_GPIO_Init(GYRO_CS_GPIO_Port, &GPIO_InitStruct);

  /*Configure GPIO pin : M3V3_REG_ON_Pin */
  GPIO_InitStruct.Pin = M3V3_REG_ON_Pin;
  GPIO_InitStruct.Mode = GPIO_MODE_OUTPUT_PP;
  GPIO_InitStruct.Pull = GPIO_NOPULL;
  GPIO_InitStruct.Speed = GPIO_SPEED_FREQ_LOW;
  HAL_GPIO_Init(M3V3_REG_ON_GPIO_Port, &GPIO_InitStruct);

  /*Configure GPIO pins : I2C1_SCL_Pin I2C1_SDA_Pin */
  GPIO_InitStruct.Pin = I2C1_SCL_Pin|I2C1_SDA_Pin;
  GPIO_InitStruct.Mode = GPIO_MODE_AF_OD;
  GPIO_InitStruct.Pull = GPIO_PULLUP;
  GPIO_InitStruct.Speed = GPIO_SPEED_FREQ_VERY_HIGH;
  GPIO_InitStruct.Alternate = GPIO_AF4_I2C1;
  HAL_GPIO_Init(GPIOB, &GPIO_InitStruct);

  /*Configure GPIO pin : GYRO_INT2_Pin */
  GPIO_InitStruct.Pin = GYRO_INT2_Pin;
  GPIO_InitStruct.Mode = GPIO_MODE_EVT_RISING;
  GPIO_InitStruct.Pull = GPIO_NOPULL;
  HAL_GPIO_Init(GYRO_INT2_GPIO_Port, &GPIO_InitStruct);

  /*Configure GPIO pin : XL_CS_Pin */
  GPIO_InitStruct.Pin = XL_CS_Pin;
  GPIO_InitStruct.Mode = GPIO_MODE_OUTPUT_PP;
  GPIO_InitStruct.Pull = GPIO_NOPULL;
  GPIO_InitStruct.Speed = GPIO_SPEED_FREQ_LOW;
  HAL_GPIO_Init(XL_CS_GPIO_Port, &GPIO_InitStruct);

  /*Configure GPIO pin : XL_INT_Pin */
  GPIO_InitStruct.Pin = XL_INT_Pin;
  GPIO_InitStruct.Mode = GPIO_MODE_EVT_RISING;
  GPIO_InitStruct.Pull = GPIO_NOPULL;
  HAL_GPIO_Init(XL_INT_GPIO_Port, &GPIO_InitStruct);

}

/* USER CODE BEGIN 4 */
PUTCHAR_PROTOTYPE
{
  /* Place your implementation of fputc here */
  /* e.g. write a character to the USART1 and Loop until the end of transmission */
  HAL_UART_Transmit(&huart2, (uint8_t *)&ch, 1, 0xFFFF);
  return ch;
}

/* USER CODE END 4 */

void _Error_Handler(char * file, int line)
{
  while(1)
  {
  }
}

/************************ (C) COPYRIGHT STMicroelectronics *****END OF FILE****/
